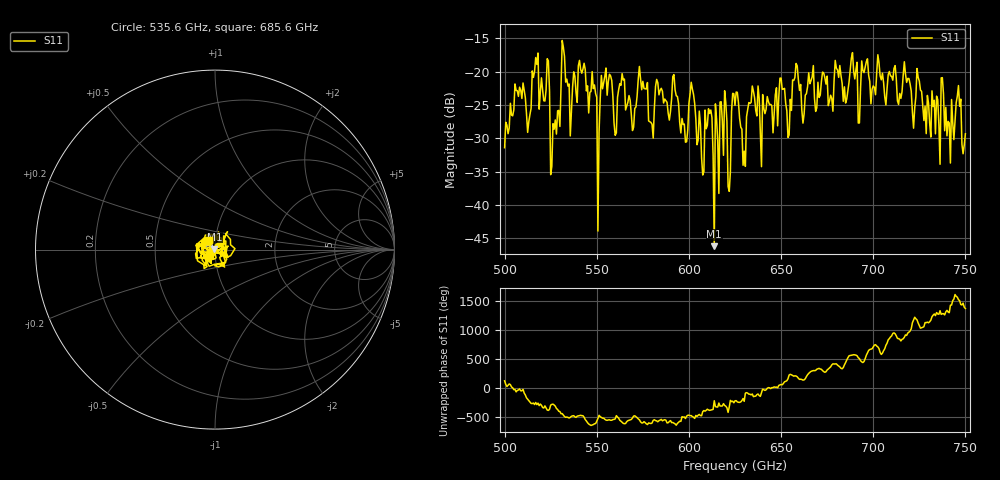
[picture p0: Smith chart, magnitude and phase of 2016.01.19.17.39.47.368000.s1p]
!Created with skrf (http://scikit-rf.org).
# GHz S RI R 50.0
!freq ReS11 ImS11
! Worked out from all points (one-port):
!   401 points, 500 GHz to 750 GHz, reference 50 ohm
!   lowest |S11| = -46.2 dB at 613.8 GHz (marker M1), VSWR 1.01, Z = 49.6 + j0.329 ohm
!   |S11| at or under -10 dB: start of sweep to end of sweep
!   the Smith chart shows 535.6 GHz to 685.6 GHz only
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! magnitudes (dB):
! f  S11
! 500 GHz  -31.4
! 506.9 GHz  -22.8
! 513.1 GHz  -27.5
! 516.9 GHz  -17.9
! 523.1 GHz  -18.0
! 526.2 GHz  -27.8
! 531.2 GHz  -15.3
! 548.8 GHz  -22.0
! 550.6 GHz  -43.9
! 553.8 GHz  -21.7
! 560 GHz  -29.5
! 562.5 GHz  -21.8
! 570 GHz  -28.3
! 573.8 GHz  -21.1
! 579.4 GHz  -27.6
! 593.8 GHz  -23.7
! 613.8 GHz  -46.2
! 618.8 GHz  -32.5
! 621.9 GHz  -38.0
! 625 GHz  -25.1
! 629.4 GHz  -34.0
! 633.8 GHz  -24.6
! 656.2 GHz  -21.2
! 687.5 GHz  -19.7
! 718.8 GHz  -21.0
! 740.6 GHz  -27.5
! 746.2 GHz  -22.1
! 750 GHz  -29.3
